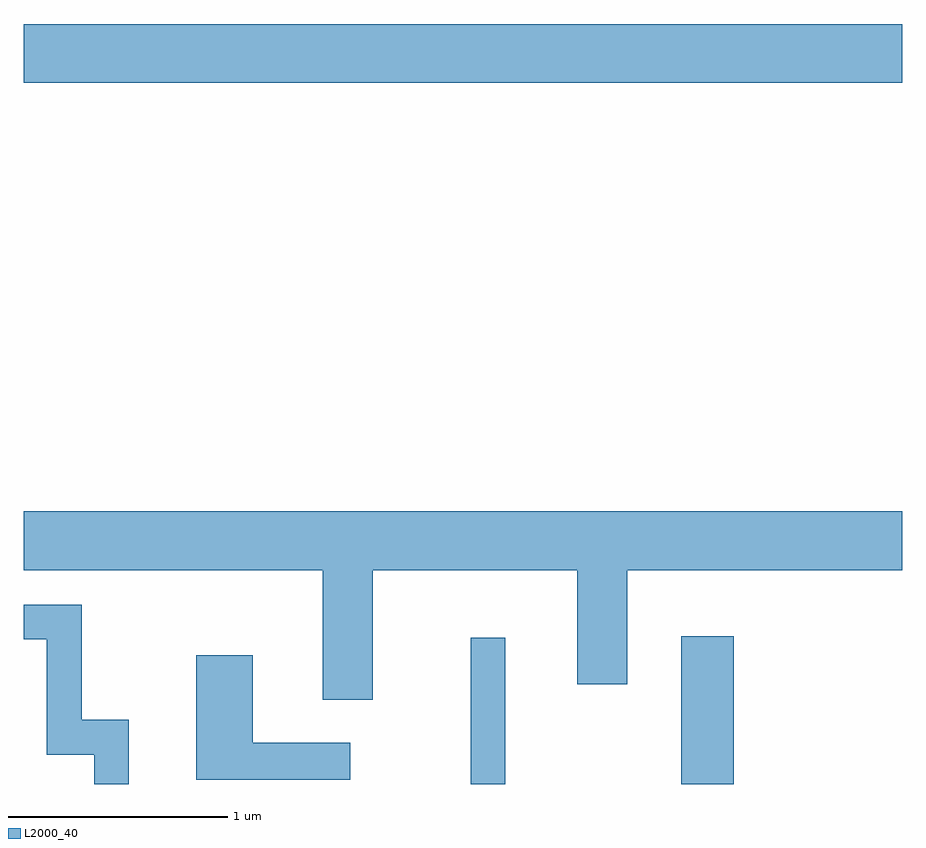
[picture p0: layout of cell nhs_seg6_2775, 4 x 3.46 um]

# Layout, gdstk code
import gdstk
lib = gdstk.Library(unit=1e-6, precision=1e-09)
def R(c, l, rs):  # rectangles x0, y0, x1, y1
    for r in rs: c.add(gdstk.rectangle(r[:2], r[2:], *l))
def P(c, l, *ps):  # polygons
    for p in ps: c.add(gdstk.Polygon(p, *l))
L2000_40 = (2000, 40)

nhs_seg6_2775 = lib.new_cell('nhs_seg6_2775')
R(nhs_seg6_2775, L2000_40, [(271.646,1560.162,271.804,1560.828), (272.606,1560.162,272.844,1560.834), (269.611,1563.356,273.611,1563.624)])
P(nhs_seg6_2775, L2000_40, [(269.611,1561.136),(270.971,1561.136),(270.971,1560.546),(271.199,1560.546),(271.199,1561.136),(272.131,1561.136),(272.131,1560.616),(272.359,1560.616),(272.359,1561.136),(273.611,1561.136),(273.611,1561.404),(269.611,1561.404)],
  [(270.089,1560.454),(269.874,1560.454),(269.874,1560.979),(269.611,1560.979),(269.611,1560.821),(269.716,1560.821),(269.716,1560.296),(269.931,1560.296),(269.931,1560.162),(270.089,1560.162)],
  [(271.098,1560.349),(270.654,1560.349),(270.654,1560.749),(270.396,1560.749),(270.396,1560.181),(271.098,1560.181)])

lib.write_gds('nhs_seg6_2775.gds')
